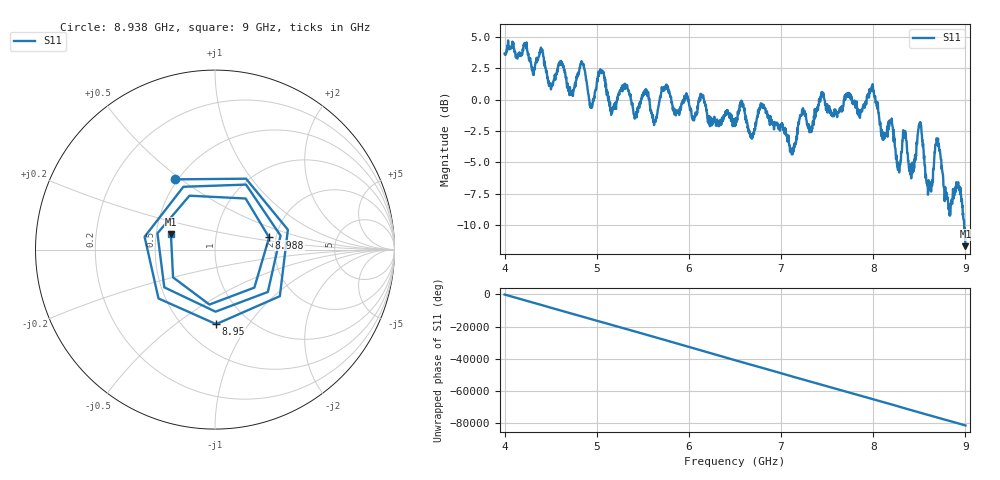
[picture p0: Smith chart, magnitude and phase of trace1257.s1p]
! Created with skrf 1.8.0 (http://scikit-rf.org).
# Hz S RI R 50.0
!freq ReS11 ImS11
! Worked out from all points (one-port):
!   1601 points, 4 GHz to 9 GHz, reference 50 ohm
!   lowest |S11| = -11.7 dB at 9 GHz (marker M1), VSWR 1.70, Z = 29.9 + j5.54 ohm
!   |S11| at or under -10 dB: 8.98671 GHz to end of sweep
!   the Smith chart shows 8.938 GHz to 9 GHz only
!   S11 on the Smith chart (normalised r, x): 8.938 GHz: 0.49, +0.48; 8.95 GHz: 0.71, -0.72; 8.988 GHz: 1.84, +0.28; 9 GHz: 0.60, +0.11
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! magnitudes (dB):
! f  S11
! 4 GHz  3.7
! 4.503 GHz  0.8
! 4.625 GHz  2.8
! 4.722 GHz  0.5
! 4.847 GHz  2.8
! 4.941 GHz  -0.4
! 5.044 GHz  2.3
! 5.159 GHz  -1.0
! 5.25 GHz  0.7
! 5.875 GHz  -1.0
! 6.5 GHz  -2.1
! 6.688 GHz  -2.8
! 6.8 GHz  -0.7
! 7.125 GHz  -4.4
! 7.228 GHz  -0.8
! 7.75 GHz  0.2
! 7.994 GHz  1.2
! 8.269 GHz  -5.6
! 8.375 GHz  -4.3
! 8.425 GHz  -5.0
! 8.506 GHz  -1.8
! 8.603 GHz  -6.7
! 8.697 GHz  -3.2
! 8.812 GHz  -8.2
! 8.938 GHz  -6.9
! 8.95 GHz  -7.6
! 8.988 GHz  -10.2
! 9 GHz  -11.7
